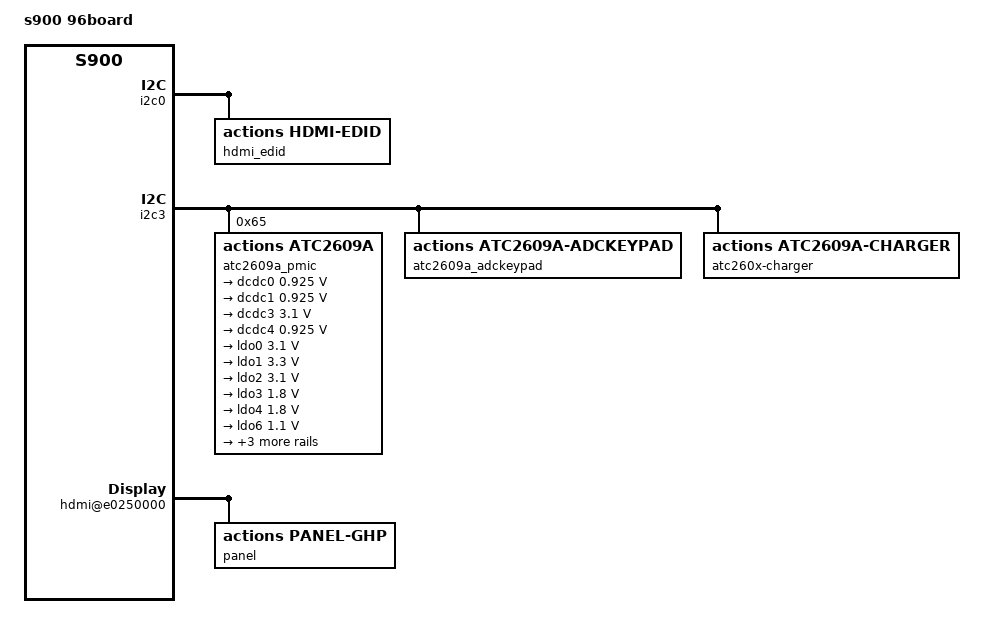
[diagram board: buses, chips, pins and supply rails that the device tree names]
/*
 * Copyright (c) 2015 Actions Semi Co., Ltd.
 *
 * SPDX-License-Identifier:	GPL-2.0+
 */

/dts-v1/;

#include "s900.dtsi"

/ {
	model = "s900 96board";
	compatible = "actions,s900_96board", "actions,s900";

	chosen {
		stdout-path = &serial5;
	};

	clock:e0160000 {
		compatible = "actions,owl-clk";
		core_pll = <1104>;
		dev_pll = <660>;
		display_pll = <1056>;
	};

	i2c0: i2c@e0170000 {
		hdmi_edid {
			compatible = "actions,hdmi-edid";
		};
	};

	i2c3: i2c@e0176000 {
		atc2609a_pmic {
			compatible = "actions,atc2609a";
			reg = <0x65>;

			atc2609a_rtc {
					compatible = "actions,atc2609a-rtc";
			};

			atc2609a_pstore {
					compatible = "actions,atc2609a-pstore";
			};

			atc2609a_misc {
					compatible = "actions,atc2609a-misc";
			};

			atc2609a_auxadc {
					compatible = "actions,atc2609a-auxadc";
			};

			voltage-regulators {

			/* DCDC0       VDD_CORE
			 * DCDC1       VDD_CPU
			 * DCDC2       VDDR
			 * DCDC3       VCC
			 * DCDC4       VDD_CPUM
			 */
			dcdc0: dcdc0 {
				regulator-name = "dcdc0";
				regulator-min-microvolt = <925000>;
				regulator-max-microvolt = <925000>;
				regulator-always-on;
			};

			dcdc1: dcdc1 {
				regulator-name = "dcdc1";
				regulator-min-microvolt = <925000>;
				regulator-max-microvolt = <925000>;
				regulator-always-on;
			};

			dcdc3: dcdc3 {
				regulator-name = "dcdc3";
				regulator-min-microvolt = <3100000>;
				regulator-max-microvolt = <3100000>;
				regulator-always-on;
			};

			dcdc4: dcdc4 {
				regulator-name = "dcdc4";
				regulator-min-microvolt = <925000>;
				regulator-max-microvolt = <925000>;
				regulator-always-on;
			};

			/* LDO0        SD_VCC     
			 * LDO1        WIFI_3V3  
			 * LDO2        AVCC       
			 * LDO3        ATC2609_VDD   
			 * LDO4        AVCC_1V8   
			 * LDO6        AVDD_1V0   
			 * LDO7        VCC_1V8_IO  
			 * LDO8        UNUSED     
			 * LDO9        RTC_VDD     */

			ldo0: ldo0{
				regulator-name = "ldo0";
				regulator-min-microvolt  = <3100000>;
				regulator-max-microvolt = <3100000>;
				regulator-always-on;
			};

			ldo1: ldo1{
				regulator-name = "ldo1";
				regulator-min-microvolt  = <3300000>;
				regulator-max-microvolt = <3300000>;
			};

			ldo2: ldo2{
				regulator-name = "ldo2";
				regulator-min-microvolt  = <3100000>;
				regulator-max-microvolt = <3100000>;
				regulator-always-on;
			};

			ldo3: ldo3{
				regulator-name = "ldo3";
				regulator-min-microvolt  = <1800000>;
				regulator-max-microvolt = <1800000>;
				regulator-always-on;
			};

			ldo4: ldo4{
				regulator-name = "ldo4";
				regulator-min-microvolt  = <1800000>;
				regulator-max-microvolt = <1800000>;
				regulator-always-on;
			};

	
			ldo6: ldo6{
				regulator-name = "ldo6";
				regulator-min-microvolt  = <1100000>;
				regulator-max-microvolt = <1100000>;
				regulator-always-on;
			};

			ldo7: ldo7{
				regulator-name = "ldo7";
				regulator-min-microvolt  = <1800000>;
				regulator-max-microvolt = <1800000>;
			};

			ldo8: ldo8{
				regulator-name = "ldo8";
				regulator-min-microvolt  = <2100000>;
				regulator-max-microvolt = <3300000>;
			};

			ldo9: ldo9{
				regulator-name = "ldo9";
				regulator-min-microvolt  = <2600000>;
				regulator-max-microvolt = <3300000>;
			};
			};
		};
		atc2609a_adckeypad {
			#define KEY_VOLUMEDOWN	114
			#define KEY_VOLUMEUP	115
			compatible = "actions,atc2609a-adckeypad";
			keymapsize = <2>;
			adc_channel_name = "AUX0";
			key_val = <KEY_VOLUMEUP KEY_VOLUMEDOWN>;
			left_adc_val =  <0 3300>;
			right_adc_val = <100 3700>;
		};

		atc260x-charger{
			compatible = "actions,atc2609a-charger";
			rsense = <20>;/*unit:mohm*/
			support_adaptor_type = <3>; /*1: DCIN  2: USB  3:DCIN+USB*/
		};
	};


	hdmi@e0250000 {
		hdcp_onoff = <0>;
		channel_invert = <0>;
		bit_invert = <0>;

		panel@ghp {
			compatible = "actions,panel-ghp";

			is_primary = <1>;

			hotplug_always_on = <1>;

			draw_width = <1920>;
			draw_height = <1080>;
		};
	};

	xhci@e0400000 {
		actions,vbus-gpio = <&gpiod 1 0>;  /* GPIOD1,  0:  high active ; 1: low active */
	};

};
